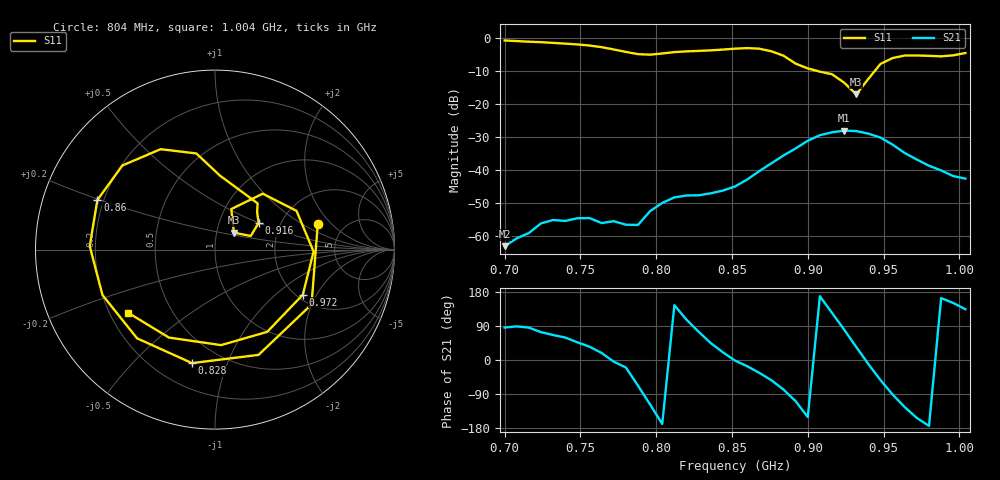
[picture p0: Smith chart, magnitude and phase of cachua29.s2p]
# Hz S RI R 50
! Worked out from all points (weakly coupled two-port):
!   39 points, 700 MHz to 1.004 GHz, reference 50 ohm
!   highest |S21| = -27.95 dB at 924 MHz (marker M1); lowest = -63.0 dB at 700 MHz (marker M2)
!   lowest |S11| = -17.0 dB at 932 MHz (marker M3), VSWR 1.33, Z = 60.5 + j11.7 ohm
!   |S11| at or under -10 dB: 907.2 MHz to 944 MHz (36.78 MHz wide, 3.97 % of centre)
!   S12 and S22 are empty: the file has one direction only
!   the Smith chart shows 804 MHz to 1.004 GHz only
!   S11 on the Smith chart (normalised r, x): 804 MHz: 3.21, +1.41; 828 MHz: 0.35, -0.76; 860 MHz: 0.18, +0.20; 916 MHz: 1.54, +0.50; 972 MHz: 2.15, -1.55; 1.004 GHz: 0.27, -0.30
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7e8  0.7649 0.5274  5.44e-05 0.000707  0 0  0 0
7.24e8  0.8351 -0.2619  0.000447 0.00151  0 0  0 0
7.4e8  0.4426 -0.7041  0.000875 0.00147  0 0  0 0
7.56e8  -0.1998 -0.7522  0.00155 0.00109  0 0  0 0
7.72e8  -0.6529 -0.1852  0.00169 -0.000129  0 0  0 0
7.8e8  -0.5779 0.2336  0.00141 -0.000507  0 0  0 0
7.88e8  -0.2216 0.5321  0.000563 -0.00138  0 0  0 0
7.96e8  0.2625 0.5008  -0.00111 -0.00214  0 0  0 0
8.04e8  0.5727 0.1431  -0.00315 -0.000623  0 0  0 0
8.2e8  0.2426 -0.5866  -0.00116 0.004  0 0  0 0
8.28e8  -0.1281 -0.6324  0.0011 0.00404  0 0  0 0
8.52e8  -0.6979 0.0192  0.00569 -0.000151  0 0  0 0
8.6e8  -0.6555 0.276  0.00695 -0.00204  0 0  0 0
8.76e8  -0.3031 0.5595  0.00763 -0.0103  0 0  0 0
9.08e8  0.2346 0.207  -0.0333 0.00696  0 0  0 0
9.16e8  0.2435 0.1494  -0.0212 0.0311  0 0  0 0
9.24e8  0.1992 0.0759  0.00678 0.0395  0 0  0 0
9.32e8  0.1053 0.0943  0.0325 0.0222  0 0  0 0
9.56e8  0.4541 0.2159  -0.00053 -0.0245  0 0  0 0
9.72e8  0.4894 -0.2513  -0.013 -0.00659  0 0  0 0
9.88e8  0.0336 -0.5322  -0.00955 0.00287  0 0  0 0
1.004e9  -0.4859 -0.3508  -0.00521 0.00539  0 0  0 0
